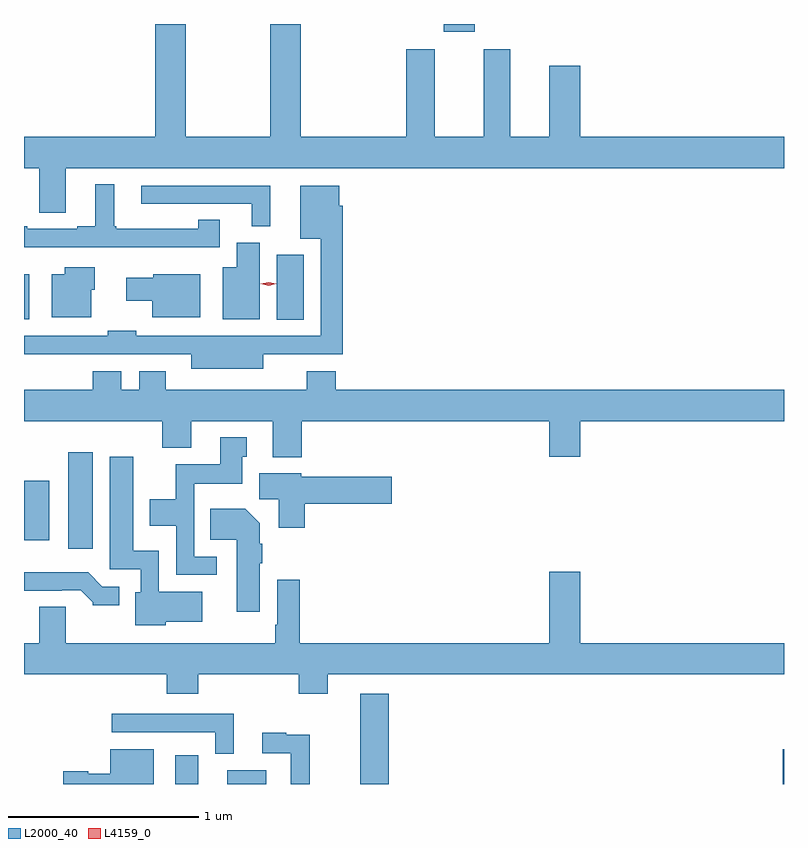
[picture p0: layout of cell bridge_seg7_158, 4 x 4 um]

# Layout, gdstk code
import gdstk
lib = gdstk.Library(unit=1e-6, precision=1e-09)
def R(c, l, rs):  # rectangles x0, y0, x1, y1
    for r in rs: c.add(gdstk.rectangle(r[:2], r[2:], *l))
def P(c, l, *ps):  # polygons
    for p in ps: c.add(gdstk.Polygon(p, *l))
L2000_40 = (2000, 40)
L4159_0 = (4159, 0)

bridge_seg7_158 = lib.new_cell('bridge_seg7_158')
R(bridge_seg7_158, L2000_40, [(402.8,1038.666,402.922,1038.817), (403.073,1038.666,403.279,1038.739), (403.775,1038.666,403.925,1039.141), (405.998,1038.666,406.004,1038.85), (402.236,1039.905,402.367,1040.413), (402.004,1039.949,402.136,1040.263), (403.334,1041.109,403.477,1041.451), (402.004,1041.113,402.031,1041.349), (404.213,1042.626,404.377,1042.666)])
P(bridge_seg7_158, L2000_40, [(402.223,1041.908),(406.004,1041.908),(406.004,1042.072),(404.932,1042.072),(404.932,1042.447),(404.768,1042.447),(404.768,1042.072),(404.563,1042.072),(404.563,1042.534),(404.423,1042.534),(404.423,1042.072),(404.167,1042.072),(404.167,1042.534),(404.015,1042.534),(404.015,1042.072),(403.46,1042.072),(403.46,1042.666),(403.3,1042.666),(403.3,1042.072),(402.855,1042.072),(402.855,1042.666),(402.695,1042.666),(402.695,1042.072),(402.004,1042.072),(402.004,1041.908),(402.083,1041.908),(402.083,1041.673),(402.223,1041.673)],
  [(402.122,1041.492),(402.555,1041.492),(402.555,1041.491),(403.033,1041.491),(403.033,1041.635),(402.92,1041.635),(402.92,1041.589),(402.49,1041.589),(402.49,1041.601),(402.478,1041.601),(402.478,1041.823),(402.38,1041.823),(402.38,1041.601),(402.284,1041.601),(402.284,1041.588),(402.022,1041.588),(402.022,1041.601),(402.004,1041.601),(402.004,1041.491),(402.122,1041.491)],
  [(403.3,1041.816),(402.621,1041.816),(402.621,1041.72),(403.202,1041.72),(403.202,1041.601),(403.3,1041.601)],
  [(403.264,1040.928),(403.682,1040.928),(403.682,1041.71),(403.663,1041.71),(403.663,1041.814),(403.457,1041.814),(403.457,1041.536),(403.566,1041.536),(403.566,1041.024),(402.594,1041.024),(402.594,1041.052),(402.444,1041.052),(402.444,1041.024),(402.004,1041.024),(402.004,1040.927),(402.344,1040.927),(402.344,1040.928),(402.884,1040.928),(402.884,1040.852),(403.264,1040.852)],
  [(403.246,1041.516),(403.124,1041.516),(403.124,1041.385),(403.049,1041.385),(403.049,1041.113),(403.246,1041.113)],
  [(402.358,1041.267),(402.376,1041.267),(402.376,1041.385),(402.218,1041.385),(402.218,1041.349),(402.149,1041.349),(402.149,1041.122),(402.358,1041.122)],
  [(402.931,1041.349),(402.684,1041.349),(402.684,1041.331),(402.543,1041.331),(402.543,1041.209),(402.68,1041.209),(402.68,1041.122),(402.931,1041.122)],
  [(402.751,1040.839),(402.611,1040.839),(402.611,1040.74),(402.517,1040.74),(402.517,1040.839),(402.365,1040.839),(402.365,1040.74),(402.004,1040.74),(402.004,1040.576),(402.731,1040.576),(402.731,1040.435),(402.883,1040.435),(402.883,1040.576),(403.313,1040.576),(403.313,1040.387),(403.466,1040.387),(403.466,1040.576),(404.768,1040.576),(404.768,1040.388),(404.932,1040.388),(404.932,1040.576),(406.004,1040.576),(406.004,1040.74),(403.646,1040.74),(403.646,1040.839),(403.493,1040.839),(403.493,1040.74),(402.751,1040.74)],
  [(403.018,1039.863),(402.9,1039.863),(402.9,1040.246),(403.153,1040.246),(403.153,1040.388),(403.177,1040.388),(403.177,1040.491),(403.037,1040.491),(403.037,1040.35),(402.802,1040.35),(402.802,1040.164),(402.665,1040.164),(402.665,1040.024),(402.804,1040.024),(402.804,1039.767),(403.018,1039.767)],
  [(402.75,1039.52),(402.943,1039.52),(402.943,1039.678),(402.714,1039.678),(402.714,1039.894),(402.58,1039.894),(402.58,1040.389),(402.455,1040.389),(402.455,1039.797),(402.618,1039.797),(402.618,1039.674),(402.59,1039.674),(402.59,1039.502),(402.75,1039.502)],
  [(403.481,1040.141),(403.939,1040.141),(403.939,1040.283),(403.464,1040.283),(403.464,1040.302),(403.241,1040.302),(403.241,1040.164),(403.346,1040.164),(403.346,1040.016),(403.481,1040.016)],
  [(403.246,1039.828),(403.259,1039.828),(403.259,1039.931),(403.246,1039.931),(403.246,1040.038),(403.168,1040.116),(402.985,1040.116),(402.985,1039.952),(403.124,1039.952),(403.124,1039.572),(403.246,1039.572)],
  [(402.92,1039.244),(403.451,1039.244),(403.451,1039.142),(403.603,1039.142),(403.603,1039.244),(406.004,1039.244),(406.004,1039.408),(404.932,1039.408),(404.932,1039.783),(404.768,1039.783),(404.768,1039.408),(403.454,1039.408),(403.454,1039.741),(403.338,1039.741),(403.338,1039.504),(403.326,1039.504),(403.326,1039.408),(402.223,1039.408),(402.223,1039.598),(402.083,1039.598),(402.083,1039.408),(402.004,1039.408),(402.004,1039.244),(402.755,1039.244),(402.755,1039.142),(402.92,1039.142)],
  [(402.505,1039.704),(402.417,1039.704),(402.341,1039.78),(402.004,1039.78),(402.004,1039.683),(402.203,1039.683),(402.203,1039.686),(402.302,1039.686),(402.366,1039.622),(402.366,1039.607),(402.505,1039.607)],
  [(403.108,1039.035),(402.465,1039.035),(402.465,1038.939),(403.011,1038.939),(403.011,1038.824),(403.108,1038.824)],
  [(403.508,1038.926),(403.385,1038.926),(403.385,1038.937),(403.257,1038.937),(403.257,1038.828),(403.407,1038.828),(403.407,1038.666),(403.508,1038.666)],
  [(402.688,1038.85),(402.458,1038.85),(402.458,1038.721),(402.342,1038.721),(402.342,1038.734),(402.21,1038.734),(402.21,1038.666),(402.688,1038.666)])
P(bridge_seg7_158, L4159_0, [(403.291,1041.288),(403.25,1041.298),(403.25,1041.298),(403.25,1041.298),(403.291,1041.308),(403.331,1041.298),(403.332,1041.298),(403.331,1041.298)])

lib.write_gds('bridge_seg7_158.gds')
